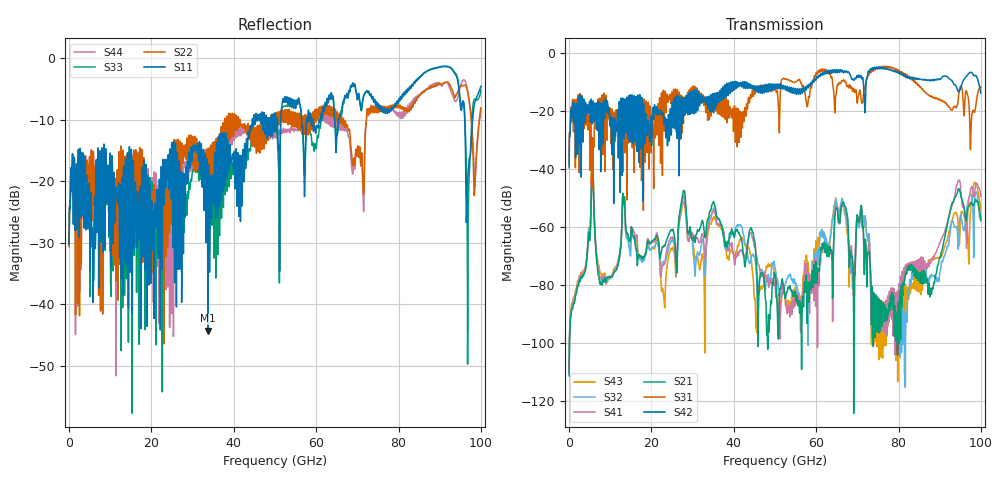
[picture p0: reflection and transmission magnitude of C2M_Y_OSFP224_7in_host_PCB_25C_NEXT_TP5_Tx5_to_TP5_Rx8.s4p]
# GHz S RI R 45
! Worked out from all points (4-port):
!   4000 points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, 25 MHz to 100 GHz, reference 45 ohm
!   strongest paths, dB at 25 MHz, 25.02 GHz, 50.02 GHz, 75.03 GHz, 100 GHz:
!     S42: -39.5, -17.4, -10.6, -4.9, -13.7
!     S31: -38.6, -13.7, -12.1, -4.9, -11.6
!     S21: -111.2, -61.2, -76.2, -88.7, -57.7
!     S41: -110.2, -64.1, -79.8, -93.5, -49.3
!     S32: -110.2, -64.9, -74.1, -88.7, -56.2
!     S43: -109.2, -67.7, -77.4, -84.4, -54.0
!   lowest |S11| = -44.3 dB at 33.7 GHz (marker M1), VSWR 1.01, Z = 45.3 - j0.454 ohm
!   |S11| at or under -10 dB: start of sweep to 44.49 GHz; 59.15 GHz to 60.73 GHz (1.575 GHz wide, 2.63 % of centre); 96.08 GHz to 98 GHz (1.927 GHz wide, 1.99 % of centre) (the widest 3 of 23)
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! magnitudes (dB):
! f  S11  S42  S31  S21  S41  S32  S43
! 25 MHz  -30.2  -39.5  -38.6  -111.2  -110.2  -110.2  -109.2
! 5.7 GHz  -30.3  -20.5  -33.4  -39.7  -39.8  -39.7  -39.8
! 7.9 GHz  -16.8  -17.9  -17.9  -79.8  -78.1  -79.2  -76.8
! 33.7 GHz  -44.3  -18.4  -21.4  -57.0  -60.2  -59.9  -62.2
! 66.4 GHz  -7.5  -5.9  -9.6  -51.6  -52.3  -50.4  -52.4
! 79.88 GHz  -7.4  -6.8  -5.7  -88.1  -88.1  -88.0  -91.0
! 100 GHz  -4.6  -13.7  -11.6  -57.7  -49.3  -56.2  -54.0
